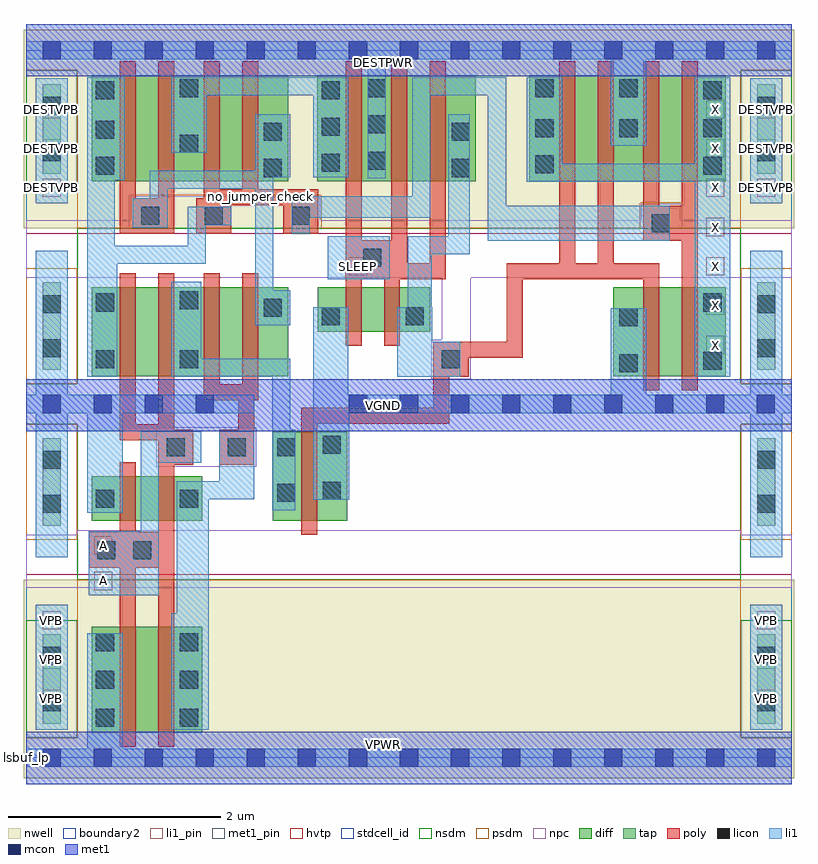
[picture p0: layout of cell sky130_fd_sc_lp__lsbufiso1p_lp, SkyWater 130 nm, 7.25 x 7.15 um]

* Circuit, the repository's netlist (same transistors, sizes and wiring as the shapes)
* Copyright 2020 The SkyWater PDK Authors
*
* Licensed under the Apache License, Version 2.0 (the "License");
* you may not use this file except in compliance with the License.
* You may obtain a copy of the License at
*
*     https://www.apache.org/licenses/LICENSE-2.0
*
* Unless required by applicable law or agreed to in writing, software
* distributed under the License is distributed on an "AS IS" BASIS,
* WITHOUT WARRANTIES OR CONDITIONS OF ANY KIND, either express or implied.
* See the License for the specific language governing permissions and
* limitations under the License.
*
* SPDX-License-Identifier: Apache-2.0

.SUBCKT sky130_fd_sc_lp__lsbufiso1p_lp A DESTPWR DESTVPB SLEEP VGND VPB VPWR X
*.PININFO A:I DESTPWR:I DESTVPB:I SLEEP:I VGND:I VPB:I VPWR:I X:O
MI2 cross2 cross1 sndP1a DESTVPB sky130_fd_pr__pfet_01v8_hvt m=1 w=1.0U l=0.15U mult=1
+ sa=0.265 sb=0.265 sd=0.28 area=0.063 perim=1.14
MI3 cross1 cross2 sndP2a DESTVPB sky130_fd_pr__pfet_01v8_hvt m=1 w=1.0U l=0.15U mult=1
+ sa=0.265 sb=0.265 sd=0.28 area=0.063 perim=1.14
MI18 sndP1a cross1 net93 DESTVPB sky130_fd_pr__pfet_01v8_hvt m=1 w=1.0U l=0.15U mult=1
+ sa=0.265 sb=0.265 sd=0.28 area=0.063 perim=1.14
MI20 Ab A net89 VPB sky130_fd_pr__pfet_01v8_hvt m=1 w=1.0U l=0.15U mult=1 sa=0.265
+ sb=0.265 sd=0.28 area=0.063 perim=1.14
MI7 net89 A VPWR VPB sky130_fd_pr__pfet_01v8_hvt m=1 w=1.0U l=0.15U mult=1 sa=0.265
+ sb=0.265 sd=0.28 area=0.063 perim=1.14
MI15 net82 cross2 DESTPWR DESTVPB sky130_fd_pr__pfet_01v8_hvt m=1 w=1.0U l=0.15U
+ mult=1 sa=0.265 sb=0.265 sd=0.28 area=0.063
+ perim=1.14
MI34 sleepb SLEEP net77 DESTVPB sky130_fd_pr__pfet_01v8_hvt m=1 w=1.0U l=0.15U mult=1
+ sa=0.265 sb=0.265 sd=0.28 area=0.063 perim=1.14
MI33 net77 SLEEP DESTPWR DESTVPB sky130_fd_pr__pfet_01v8_hvt m=1 w=1.0U l=0.15U mult=1
+ sa=0.265 sb=0.265 sd=0.28 area=0.063 perim=1.14
MI19 sndP2a cross2 net93 DESTVPB sky130_fd_pr__pfet_01v8_hvt m=1 w=1.0U l=0.15U mult=1
+ sa=0.265 sb=0.265 sd=0.28 area=0.063 perim=1.14
MI39 net61 sleepb DESTPWR DESTVPB sky130_fd_pr__pfet_01v8_hvt m=1 w=1.0U l=0.15U
+ mult=1 sa=0.265 sb=0.265 sd=0.28 area=0.063
+ perim=1.14
MI38 X sleepb net61 DESTVPB sky130_fd_pr__pfet_01v8_hvt m=1 w=1.0U l=0.15U mult=1
+ sa=0.265 sb=0.265 sd=0.28 area=0.063 perim=1.14
MI29 net93 SLEEP DESTPWR DESTVPB sky130_fd_pr__pfet_01v8_hvt m=1 w=1.0U l=0.15U mult=1
+ sa=0.265 sb=0.265 sd=0.28 area=0.063 perim=1.14
MI24 X cross2 net82 DESTVPB sky130_fd_pr__pfet_01v8_hvt m=1 w=1.0U l=0.15U mult=1
+ sa=0.265 sb=0.265 sd=0.28 area=0.063 perim=1.14
MI5 cross1 Ab net114 VGND sky130_fd_pr__nfet_01v8 m=1 w=0.84U l=0.15U mult=1 sa=0.265
+ sb=0.265 sd=0.28 area=0.063 perim=1.14
MI4 cross2 A net118 VGND sky130_fd_pr__nfet_01v8 m=1 w=0.84U l=0.15U mult=1 sa=0.265
+ sb=0.265 sd=0.28 area=0.063 perim=1.14
MI8 net138 A VGND VGND sky130_fd_pr__nfet_01v8 m=1 w=0.42U l=0.15U mult=1 sa=0.265
+ sb=0.265 sd=0.28 area=0.063 perim=1.14
MI16 net134 sleepb VGND VGND sky130_fd_pr__nfet_01v8 m=1 w=0.84U l=0.15U mult=1
+ sa=0.265 sb=0.265 sd=0.28 area=0.063 perim=1.14
MI36 net130 SLEEP VGND VGND sky130_fd_pr__nfet_01v8 m=1 w=0.42U l=0.15U mult=1
+ sa=0.265 sb=0.265 sd=0.28 area=0.063 perim=1.14
MI35 sleepb SLEEP net130 VGND sky130_fd_pr__nfet_01v8 m=1 w=0.42U l=0.15U mult=1
+ sa=0.265 sb=0.265 sd=0.28 area=0.063 perim=1.14
MI23 Ab A net138 VGND sky130_fd_pr__nfet_01v8 m=1 w=0.42U l=0.15U mult=1 sa=0.265
+ sb=0.265 sd=0.28 area=0.063 perim=1.14
MI21 net118 A net117 VGND sky130_fd_pr__nfet_01v8 m=1 w=0.84U l=0.15U mult=1 sa=0.265
+ sb=0.265 sd=0.28 area=0.063 perim=1.14
MI22 net114 Ab net117 VGND sky130_fd_pr__nfet_01v8 m=1 w=0.84U l=0.15U mult=1 sa=0.265
+ sb=0.265 sd=0.28 area=0.063 perim=1.14
MI25 X cross2 net134 VGND sky130_fd_pr__nfet_01v8 m=1 w=0.84U l=0.15U mult=1 sa=0.265
+ sb=0.265 sd=0.28 area=0.063 perim=1.14
MI27 net117 sleepb VGND VGND sky130_fd_pr__nfet_01v8 m=1 w=0.84U l=0.15U mult=1
+ sa=0.265 sb=0.265 sd=0.28 area=0.063 perim=1.14
.ENDS sky130_fd_sc_lp__lsbufiso1p_lp

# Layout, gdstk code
import gdstk
lib = gdstk.Library(unit=1e-6, precision=1e-09)
def R(c, l, rs):  # rectangles x0, y0, x1, y1
    for r in rs: c.add(gdstk.rectangle(r[:2], r[2:], *l))
def A(c, l, x, y, w, h, nx, ny, dx, dy):  # array of equal rectangles
    R(c, l, [(x+i*dx, y+j*dy, x+i*dx+w, y+j*dy+h) for i in range(nx) for j in range(ny)])
def P(c, l, *ps):  # polygons
    for p in ps: c.add(gdstk.Polygon(p, *l))
nwell = (64, 20)
diff = (65, 20)
tap = (65, 44)
poly = (66, 20)
licon = (66, 44)
li1_pin = (67, 16)
li1 = (67, 20)
mcon = (67, 44)
met1_pin = (68, 16)
met1 = (68, 20)
hvtp = (78, 44)
stdcell_id = (81, 4)
nsdm = (93, 44)
psdm = (94, 20)
npc = (95, 20)
boundary2 = (236, 0)

sky130_fd_sc_lp__lsbufis = lib.new_cell('sky130_fd_sc_lp__lsbufiso1p_lp')
R(sky130_fd_sc_lp__lsbufis, nwell, [(-0.025,-0.19,7.225,1.675), (-0.025,4.985,7.225,6.85)])
R(sky130_fd_sc_lp__lsbufis, diff, [(0.615,0.235,1.655,1.235), (0.615,2.23,1.655,2.65), (2.32,2.23,3.02,3.07), (0.615,3.59,2.465,4.43), (5.52,3.59,6.58,4.43), (2.74,4.01,3.8,4.43), (0.615,5.425,2.465,6.425), (2.735,5.425,4.23,6.425), (4.73,5.425,6.58,6.425)])
R(sky130_fd_sc_lp__lsbufis, tap, [(0.155,0.32,0.325,1.165), (6.875,0.32,7.045,1.165), (0.155,2.185,0.325,3.01), (6.875,2.185,7.045,3.01), (0.155,3.65,0.325,4.475), (6.875,3.65,7.045,4.475), (0.155,5.495,0.325,6.34), (6.875,5.495,7.045,6.34)])
P(sky130_fd_sc_lp__lsbufis, poly, [(1.39,6.555),(1.24,6.555),(1.24,5.265),(1.03,5.265),(1.03,6.555),(0.88,6.555),(0.88,4.935),(1.39,4.935)],
  [(1.57,3.09),(1.39,3.09),(1.39,4.56),(1.24,4.56),(1.24,3.14),(1.03,3.14),(1.03,4.56),(0.88,4.56),(0.88,2.99),(1.24,2.99),(1.24,2.13),(1.03,2.13),(1.03,2.78),(0.88,2.78),(0.88,2.13),(0.585,2.13),(0.585,1.79),(0.88,1.79),(0.88,0.105),(1.03,0.105),(1.03,1.79),(1.24,1.79),(1.24,0.105),(1.39,0.105),(1.39,2.76),(1.57,2.76)],
  [(2.18,4.56),(2.03,4.56),(2.03,3.515),(1.82,3.515),(1.82,4.56),(1.67,4.56),(1.67,3.365),(1.995,3.365),(1.995,3.09),(1.815,3.09),(1.815,2.76),(2.145,2.76),(2.145,3.365),(2.18,3.365)],
  [(2.745,5.35),(2.18,5.35),(2.18,6.555),(2.03,6.555),(2.03,5.35),(1.82,5.35),(1.82,6.555),(1.67,6.555),(1.67,5.265),(1.6,5.265),(1.6,4.935),(1.93,4.935),(1.93,5.2),(2.415,5.2),(2.415,4.935),(2.745,4.935)],
  [(3.945,6.555),(3.795,6.555),(3.795,4.655),(3.585,4.655),(3.585,6.555),(3.435,6.555),(3.435,4.87),(3.155,4.87),(3.155,6.555),(3.005,6.555),(3.005,4.655),(3,4.655),(3,4.505),(3.005,4.505),(3.005,3.88),(3.155,3.88),(3.155,4.505),(3.365,4.505),(3.365,3.88),(3.515,3.88),(3.515,4.505),(3.945,4.505)],
  [(5.955,4.655),(5.525,4.655),(5.525,6.555),(5.375,6.555),(5.375,4.655),(5.165,4.655),(5.165,6.555),(5.015,6.555),(5.015,4.655),(4.52,4.655),(4.52,3.915),(3.83,3.915),(3.83,3.295),(2.585,3.295),(2.585,2.1),(2.735,2.1),(2.735,3.145),(3.98,3.145),(3.98,3.585),(4.16,3.585),(4.16,3.765),(4.67,3.765),(4.67,4.505),(5.805,4.505),(5.805,3.46),(5.955,3.46)],
  [(6.315,6.555),(6.165,6.555),(6.165,5.195),(5.955,5.195),(5.955,6.555),(5.805,6.555),(5.805,4.865),(6.165,4.865),(6.165,3.46),(6.315,3.46)])
A(sky130_fd_sc_lp__lsbufis, licon, 0.655, 0.295, 0.17, 0.17, 1, 3, 0, 0.355)
A(sky130_fd_sc_lp__lsbufis, licon, 1.445, 0.295, 0.17, 0.17, 1, 3, 0, 0.355)
A(sky130_fd_sc_lp__lsbufis, licon, 2.78, 5.515, 0.17, 0.17, 1, 3, 0, 0.34)
A(sky130_fd_sc_lp__lsbufis, licon, 3.21, 5.535, 0.17, 0.17, 1, 3, 0, 0.34)
A(sky130_fd_sc_lp__lsbufis, licon, 4.79, 5.84, 0.17, 0.17, 3, 1, 0.79, 0)
R(sky130_fd_sc_lp__lsbufis, licon, [(0.155,0.44,0.325,0.61), (6.875,0.44,7.045,0.61), (0.155,0.875,0.325,1.045), (6.875,0.875,7.045,1.045), (0.665,1.87,0.835,2.04), (1.005,1.87,1.175,2.04), (0.155,2.305,0.325,2.475), (6.875,2.305,7.045,2.475), (0.655,2.355,0.825,2.525), (1.445,2.355,1.615,2.525), (2.36,2.41,2.53,2.58), (2.79,2.43,2.96,2.6), (0.155,2.72,0.325,2.89), (6.875,2.72,7.045,2.89), (1.32,2.84,1.49,3.01), (1.895,2.84,2.065,3.01), (2.36,2.84,2.53,3.01), (2.79,2.86,2.96,3.03), (5.58,3.63,5.75,3.8), (6.37,3.65,6.54,3.82), (0.655,3.665,0.825,3.835), (1.445,3.665,1.615,3.835), (3.91,3.665,4.08,3.835), (0.155,3.77,0.325,3.94), (6.875,3.77,7.045,3.94), (5.58,4.06,5.75,4.23), (2.78,4.07,2.95,4.24), (3.57,4.07,3.74,4.24), (2.235,4.15,2.405,4.32), (0.155,4.185,0.325,4.355), (6.875,4.185,7.045,4.355), (0.655,4.2,0.825,4.37), (6.37,4.2,6.54,4.37), (1.445,4.22,1.615,4.39), (3.17,4.62,3.34,4.79), (5.885,4.945,6.055,5.115), (1.08,5.015,1.25,5.185), (1.68,5.015,1.85,5.185), (2.495,5.015,2.665,5.185), (2.235,5.465,2.405,5.635), (4,5.465,4.17,5.635), (0.655,5.485,0.825,5.655), (6.37,5.485,6.54,5.655), (4.79,5.5,4.96,5.67), (0.155,5.615,0.325,5.785), (6.875,5.615,7.045,5.785), (1.445,5.695,1.615,5.865), (2.235,5.805,2.405,5.975), (4,5.805,4.17,5.975), (0.655,5.825,0.825,5.995), (0.155,6.05,0.325,6.22), (6.875,6.05,7.045,6.22), (0.655,6.195,0.825,6.365), (6.37,6.195,6.54,6.365), (1.445,6.215,1.615,6.385), (4.79,6.215,4.96,6.385), (5.58,6.215,5.75,6.385)])
A(sky130_fd_sc_lp__lsbufis, li1_pin, 0.155, 0.47, 0.17, 0.17, 1, 3, 0, 0.37)
A(sky130_fd_sc_lp__lsbufis, li1_pin, 6.875, 0.47, 0.17, 0.17, 1, 3, 0, 0.37)
A(sky130_fd_sc_lp__lsbufis, li1_pin, 6.395, 3.8, 0.17, 0.17, 1, 7, 0, 0.37)
A(sky130_fd_sc_lp__lsbufis, li1_pin, 0.155, 5.28, 0.17, 0.17, 1, 3, 0, 0.37)
A(sky130_fd_sc_lp__lsbufis, li1_pin, 6.875, 5.28, 0.17, 0.17, 1, 3, 0, 0.37)
R(sky130_fd_sc_lp__lsbufis, li1_pin, [(0.64,1.58,0.81,1.75), (0.64,1.915,0.81,2.085), (3.035,4.54,3.205,4.71)])
R(sky130_fd_sc_lp__lsbufis, li1, [(0.09,0.265,0.39,1.44), (6.81,0.265,7.11,1.44), (2.835,4.505,3.42,4.91), (0.09,5.22,0.39,6.395), (6.81,5.22,7.11,6.395)])
P(sky130_fd_sc_lp__lsbufis, li1, [(7.2,6.745),(0,6.745),(0,6.575),(3.21,6.575),(3.21,5.455),(3.38,5.455),(3.38,6.575),(5.5,6.575),(5.5,5.76),(5.83,5.76),(5.83,6.575),(7.2,6.575)],
  [(1.93,5.185),(1.52,5.185),(1.52,4.82),(0.83,4.82),(0.83,5.435),(0.925,5.435),(0.925,6.405),(0.575,6.405),(0.575,3.585),(0.855,3.585),(0.855,4.65),(1.69,4.65),(1.69,5.01),(1.93,5.01)],
  [(2.145,3.415),(0.39,3.415),(0.39,4.77),(0.09,4.77),(0.09,3.415),(0,3.415),(0,3.245),(0.09,3.245),(0.09,1.89),(0.39,1.89),(0.39,3.245),(0.575,3.245),(0.575,2.305),(0.905,2.305),(0.905,3.245),(2.145,3.245)],
  [(2.145,3.075),(1.815,3.075),(1.815,2.605),(1.415,2.605),(1.415,1.36),(1.365,1.36),(1.365,0.265),(1.715,0.265),(1.715,2.435),(2.145,2.435)],
  [(2.485,4.4),(2.325,4.4),(2.325,5.465),(2.485,5.465),(2.485,6.055),(2.155,6.055),(2.155,5.525),(1.16,5.525),(1.16,5.265),(1,5.265),(1,4.99),(1.33,4.99),(1.33,5.355),(2.155,5.355),(2.155,4.07),(2.485,4.07)],
  [(2.53,3.09),(2.485,3.09),(2.485,3.755),(1.645,3.755),(1.645,4.48),(1.365,4.48),(1.365,3.585),(2.315,3.585),(2.315,2.33),(2.53,2.33)],
  [(3.03,6.405),(1.365,6.405),(1.365,5.695),(1.695,5.695),(1.695,6.235),(2.7,6.235),(2.7,5.465),(3.03,5.465)],
  [(4.17,6.055),(3.97,6.055),(3.97,4.91),(3.59,4.91),(3.59,4.24),(3.49,4.24),(3.49,3.585),(4.08,3.585),(4.08,3.915),(3.82,3.915),(3.82,4.24),(3.815,4.24),(3.815,4.74),(4.17,4.74)],
  [(6.055,5.195),(4.515,5.195),(4.515,6.405),(3.63,6.405),(3.63,5.285),(2.495,5.285),(2.495,4.935),(2.665,4.935),(2.665,5.08),(3.8,5.08),(3.8,6.235),(4.34,6.235),(4.34,4.865),(6.055,4.865)],
  [(1.645,3.075),(1.075,3.075),(1.075,2.135),(0.585,2.135),(0.585,1.53),(1.245,1.53),(1.245,2.775),(1.645,2.775)],
  [(6.62,6.405),(6.29,6.405),(6.29,5.59),(5.04,5.59),(5.04,6.405),(4.71,6.405),(4.71,5.42),(6.29,5.42),(6.29,3.585),(6.62,3.585)],
  [(7.2,3.415),(7.11,3.415),(7.11,4.77),(6.81,4.77),(6.81,3.415),(5.83,3.415),(5.83,4.23),(5.5,4.23),(5.5,3.415),(3.03,3.415),(3.03,4.24),(2.7,4.24),(2.7,2.43),(3.04,2.43),(3.04,3.245),(6.81,3.245),(6.81,1.89),(7.11,1.89),(7.11,3.245),(7.2,3.245)],
  [(7.2,0.085),(0.905,0.085),(0.905,1.175),(0.575,1.175),(0.575,0.085),(0,0.085),(0,-0.085),(7.2,-0.085)])
A(sky130_fd_sc_lp__lsbufis, mcon, 0.155, -0.085, 0.17, 0.17, 15, 2, 0.48, 6.66)
A(sky130_fd_sc_lp__lsbufis, mcon, 0.155, 3.245, 0.17, 0.17, 4, 1, 0.48, 0)
A(sky130_fd_sc_lp__lsbufis, mcon, 3.035, 3.245, 0.17, 0.17, 8, 1, 0.48, 0)
R(sky130_fd_sc_lp__lsbufis, mcon, [(6.87,3.245,7.04,3.415)])
R(sky130_fd_sc_lp__lsbufis, met1_pin, [(0,0,7.2,0.245), (0,3.075,7.2,3.565), (0,6.415,7.2,6.66)])
R(sky130_fd_sc_lp__lsbufis, met1, [(0,-0.245,7.2,0.245), (0,3.075,7.2,3.565), (0,6.415,7.2,6.905)])
R(sky130_fd_sc_lp__lsbufis, hvtp, [(0,0,7.2,1.73), (0,4.93,7.2,6.66)])
R(sky130_fd_sc_lp__lsbufis, stdcell_id, [(0,0,7.2,6.66)])
R(sky130_fd_sc_lp__lsbufis, nsdm, [(0,0.19,0.48,1.295), (6.72,0.19,7.2,1.295), (0,5.365,0.48,6.47), (6.72,5.365,7.2,6.47)])
P(sky130_fd_sc_lp__lsbufis, nsdm, [(7.2,3.52),(6.72,3.52),(6.72,4.985),(0.48,4.985),(0.48,3.52),(0,3.52),(0,3.14),(0.48,3.14),(0.48,1.675),(6.72,1.675),(6.72,3.14),(7.2,3.14)])
R(sky130_fd_sc_lp__lsbufis, psdm, [(0,2.055,0.48,3.14), (6.72,2.055,7.2,3.14), (0,3.52,0.48,4.605), (6.72,3.52,7.2,4.605)])
P(sky130_fd_sc_lp__lsbufis, psdm, [(7.2,6.85),(0,6.85),(0,6.47),(0.48,6.47),(0.48,4.985),(0.97,4.985),(0.97,5.295),(2.775,5.295),(2.775,4.985),(5.775,4.985),(5.775,5.225),(6.165,5.225),(6.165,4.985),(6.72,4.985),(6.72,6.47),(7.2,6.47)],
  [(7.2,0.19),(6.72,0.19),(6.72,1.675),(0.48,1.675),(0.48,0.19),(0,0.19),(0,-0.19),(7.2,-0.19)])
R(sky130_fd_sc_lp__lsbufis, npc, [(1.22,2.74,2.165,3.11)])
P(sky130_fd_sc_lp__lsbufis, npc, [(7.2,5.06),(6.155,5.06),(6.155,5.215),(5.785,5.215),(5.785,5.06),(2.765,5.06),(2.765,5.285),(0.98,5.285),(0.98,5.06),(0,5.06),(0,4.52),(3.91,4.52),(3.91,3.935),(3.81,3.935),(3.81,3.565),(4.18,3.565),(4.18,4.52),(7.2,4.52)],
  [(7.2,2.1),(6.72,2.1),(6.72,2.14),(0.48,2.14),(0.48,2.1),(0,2.1),(0,1.6),(7.2,1.6)])
R(sky130_fd_sc_lp__lsbufis, boundary2, [(0,0,7.2,6.66)])
sky130_fd_sc_lp__lsbufis.add(gdstk.Label('X', (6.485,6.105), layer=67, texttype=5))
sky130_fd_sc_lp__lsbufis.add(gdstk.Label('A', (0.725,2), layer=67, texttype=5))
sky130_fd_sc_lp__lsbufis.add(gdstk.Label('X', (6.485,3.885), layer=67, texttype=5))
sky130_fd_sc_lp__lsbufis.add(gdstk.Label('X', (6.485,4.625), layer=67, texttype=5))
sky130_fd_sc_lp__lsbufis.add(gdstk.Label('X', (6.485,4.255), layer=67, texttype=5))
sky130_fd_sc_lp__lsbufis.add(gdstk.Label('X', (6.485,5.365), layer=67, texttype=5))
sky130_fd_sc_lp__lsbufis.add(gdstk.Label('X', (6.485,4.995), layer=67, texttype=5))
sky130_fd_sc_lp__lsbufis.add(gdstk.Label('A', (0.725,1.665), layer=67, texttype=5))
sky130_fd_sc_lp__lsbufis.add(gdstk.Label('X', (6.485,5.735), layer=67, texttype=5))
sky130_fd_sc_lp__lsbufis.add(gdstk.Label('SLEEP', (3.12,4.625), layer=67, texttype=5))
sky130_fd_sc_lp__lsbufis.add(gdstk.Label('VPB', (0.24,1.295), layer=67, texttype=5))
sky130_fd_sc_lp__lsbufis.add(gdstk.Label('VPB', (0.24,0.555), layer=67, texttype=5))
sky130_fd_sc_lp__lsbufis.add(gdstk.Label('VPB', (0.24,0.925), layer=67, texttype=5))
sky130_fd_sc_lp__lsbufis.add(gdstk.Label('DESTVPB', (0.24,6.105), layer=67, texttype=5))
sky130_fd_sc_lp__lsbufis.add(gdstk.Label('DESTVPB', (0.24,5.735), layer=67, texttype=5))
sky130_fd_sc_lp__lsbufis.add(gdstk.Label('VPB', (6.965,0.555), layer=67, texttype=5))
sky130_fd_sc_lp__lsbufis.add(gdstk.Label('VPB', (6.965,0.925), layer=67, texttype=5))
sky130_fd_sc_lp__lsbufis.add(gdstk.Label('VPB', (6.965,1.295), layer=67, texttype=5))
sky130_fd_sc_lp__lsbufis.add(gdstk.Label('DESTVPB', (6.965,6.105), layer=67, texttype=5))
sky130_fd_sc_lp__lsbufis.add(gdstk.Label('DESTVPB', (6.965,5.735), layer=67, texttype=5))
sky130_fd_sc_lp__lsbufis.add(gdstk.Label('DESTVPB', (6.965,5.365), layer=67, texttype=5))
sky130_fd_sc_lp__lsbufis.add(gdstk.Label('DESTVPB', (0.24,5.365), layer=67, texttype=5))
sky130_fd_sc_lp__lsbufis.add(gdstk.Label('lsbuf_lp', (0,0), layer=83, texttype=44))
sky130_fd_sc_lp__lsbufis.add(gdstk.Label('no_jumper_check', (2.205,5.28), layer=83, texttype=44))
sky130_fd_sc_lp__lsbufis.add(gdstk.Label('VPWR', (3.36,0.125), layer=68, texttype=5))
sky130_fd_sc_lp__lsbufis.add(gdstk.Label('DESTPWR', (3.36,6.54), layer=68, texttype=5))
sky130_fd_sc_lp__lsbufis.add(gdstk.Label('VGND', (3.36,3.32), layer=68, texttype=5))

lib.write_gds('sky130_fd_sc_lp__lsbufiso1p_lp.gds')
